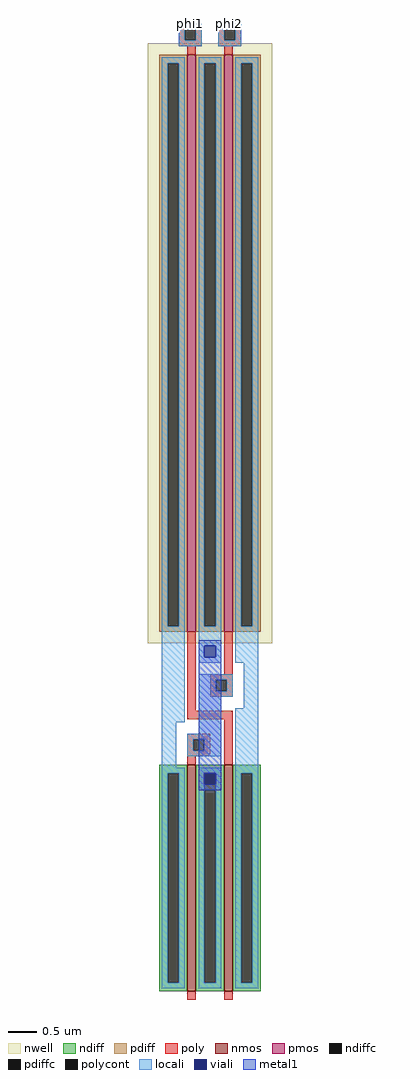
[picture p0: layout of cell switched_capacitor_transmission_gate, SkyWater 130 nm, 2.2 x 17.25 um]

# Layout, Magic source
magic
tech sky130A
<< nwell >>
rect -20 615 200 1675
<< nmos >>
rect 50 0 65 400
rect 115 0 130 400
<< pmos >>
rect 50 635 65 1655
rect 115 635 130 1655
<< ndiff >>
rect 0 385 50 400
rect 0 15 15 385
rect 35 15 50 385
rect 0 0 50 15
rect 65 385 115 400
rect 65 15 80 385
rect 100 15 115 385
rect 65 0 115 15
rect 130 385 180 400
rect 130 15 145 385
rect 165 15 180 385
rect 130 0 180 15
<< pdiff >>
rect 0 1640 50 1655
rect 0 645 15 1640
rect 35 645 50 1640
rect 0 635 50 645
rect 65 1640 115 1655
rect 65 645 80 1640
rect 100 645 115 1640
rect 65 635 115 645
rect 130 1640 180 1655
rect 130 645 145 1640
rect 165 645 180 1640
rect 130 635 180 645
<< ndiffc >>
rect 15 15 35 385
rect 80 15 100 385
rect 145 15 165 385
<< pdiffc >>
rect 15 645 35 1640
rect 80 645 100 1640
rect 145 645 165 1640
<< poly >>
rect 35 1700 75 1710
rect 35 1680 45 1700
rect 65 1680 75 1700
rect 35 1670 75 1680
rect 105 1700 145 1710
rect 105 1680 115 1700
rect 135 1680 145 1700
rect 105 1670 145 1680
rect 50 1655 65 1670
rect 115 1655 130 1670
rect 50 495 65 635
rect 115 560 130 635
rect 90 550 130 560
rect 90 530 100 550
rect 120 530 130 550
rect 90 520 130 530
rect 50 480 130 495
rect 50 445 90 455
rect 50 425 60 445
rect 80 425 90 445
rect 50 415 90 425
rect 50 400 65 415
rect 115 400 130 480
rect 50 -15 65 0
rect 115 -15 130 0
<< polycont >>
rect 45 1680 65 1700
rect 115 1680 135 1700
rect 100 530 120 550
rect 60 425 80 445
<< locali >>
rect 35 1700 75 1710
rect 35 1680 45 1700
rect 65 1680 75 1700
rect 35 1670 75 1680
rect 105 1700 145 1710
rect 105 1680 115 1700
rect 135 1680 145 1700
rect 105 1670 145 1680
rect 5 1640 45 1650
rect 5 645 15 1640
rect 35 645 45 1640
rect 5 475 45 645
rect 70 1640 110 1650
rect 70 645 80 1640
rect 100 645 110 1640
rect 70 610 110 645
rect 70 590 80 610
rect 100 590 110 610
rect 70 580 110 590
rect 135 1640 175 1650
rect 135 645 145 1640
rect 165 645 175 1640
rect 135 580 175 645
rect 70 550 130 560
rect 70 530 100 550
rect 120 530 130 550
rect 70 520 130 530
rect 5 395 30 475
rect 70 455 110 520
rect 150 500 175 580
rect 50 445 110 455
rect 50 425 60 445
rect 80 425 110 445
rect 50 415 110 425
rect 5 385 45 395
rect 5 15 15 385
rect 35 15 45 385
rect 5 5 45 15
rect 70 385 110 395
rect 70 15 80 385
rect 100 15 110 385
rect 70 5 110 15
rect 135 385 175 500
rect 135 15 145 385
rect 165 15 175 385
rect 135 5 175 15
<< viali >>
rect 80 590 100 610
rect 80 365 100 385
<< metal1 >>
rect 70 610 110 620
rect 70 590 80 610
rect 100 590 110 610
rect 70 385 110 590
rect 70 365 80 385
rect 100 365 110 385
rect 70 355 110 365
<< labels >>
flabel locali 55 1710 55 1710 1 FreeSans 160 0 0 0 phi1
port 1 n
flabel locali 125 1710 125 1710 1 FreeSans 160 0 0 0 phi2
port 2 n
<< end >>
